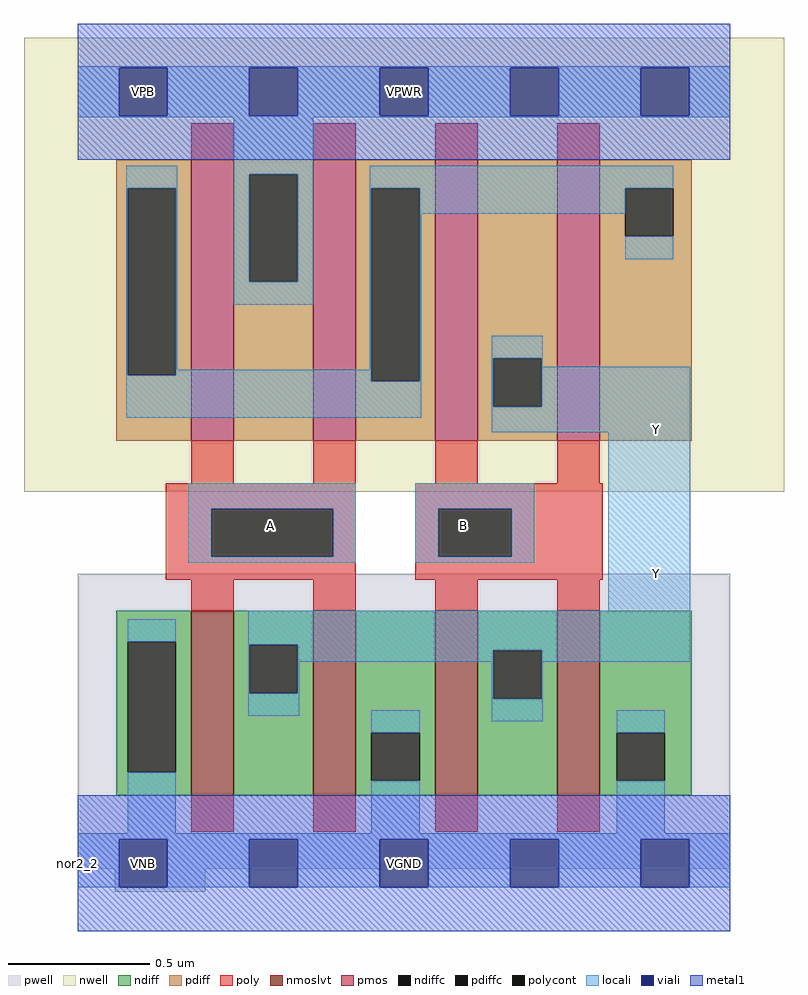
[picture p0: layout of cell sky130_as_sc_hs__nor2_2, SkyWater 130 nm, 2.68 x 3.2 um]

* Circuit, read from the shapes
.subckt sky130_as_sc_hs__nor2_2 VNB VPWR VGND VPB A B Y
XM1 Y A VGND VNB sky130_fd_pr__nfet_01v8_lvt w=0.65 l=0.15 m=2
XM2 Y B VGND VNB sky130_fd_pr__nfet_01v8_lvt w=0.65 l=0.15 m=2
XM3 VPWR A n1 VPB sky130_fd_pr__pfet_01v8 w=0.99 l=0.15 m=2
XM4 Y B n1 VPB sky130_fd_pr__pfet_01v8 w=0.99 l=0.15 m=2
.ends

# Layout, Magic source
magic
tech sky130A
magscale 1 2
<< nwell >>
rect -38 262 498 582
<< pwell >>
rect 0 -4 460 204
rect 26 -20 90 -4
<< pmos >>
rect 80 298 110 496
rect 166 298 196 496
rect 252 298 282 496
rect 338 298 368 496
<< nmoslvt >>
rect 80 48 110 178
rect 166 48 196 178
rect 252 48 282 178
rect 338 48 368 178
<< ndiff >>
rect 27 156 80 178
rect 27 64 35 156
rect 69 64 80 156
rect 27 48 80 64
rect 110 154 166 178
rect 110 120 121 154
rect 155 120 166 154
rect 110 48 166 120
rect 196 92 252 178
rect 196 58 207 92
rect 241 58 252 92
rect 196 48 252 58
rect 282 150 338 178
rect 282 116 293 150
rect 327 116 338 150
rect 282 48 338 116
rect 368 92 433 178
rect 368 58 380 92
rect 414 58 433 92
rect 368 48 433 58
<< pdiff >>
rect 27 476 80 496
rect 27 344 35 476
rect 69 344 80 476
rect 27 298 80 344
rect 110 486 166 496
rect 110 410 121 486
rect 155 410 166 486
rect 110 298 166 410
rect 196 476 252 496
rect 196 340 207 476
rect 241 340 252 476
rect 196 298 252 340
rect 282 356 338 496
rect 282 322 293 356
rect 327 322 338 356
rect 282 298 338 322
rect 368 476 433 496
rect 368 442 386 476
rect 420 442 433 476
rect 368 298 433 442
<< ndiffc >>
rect 35 64 69 156
rect 121 120 155 154
rect 207 58 241 92
rect 293 116 327 150
rect 380 58 414 92
<< pdiffc >>
rect 35 344 69 476
rect 121 410 155 486
rect 207 340 241 476
rect 293 322 327 356
rect 386 442 420 476
<< poly >>
rect 80 496 110 522
rect 166 496 196 522
rect 252 496 282 522
rect 338 496 368 522
rect 80 268 110 298
rect 166 268 196 298
rect 252 268 282 298
rect 338 268 368 298
rect 62 250 196 268
rect 62 216 94 250
rect 180 216 196 250
rect 62 200 196 216
rect 238 250 370 268
rect 238 216 254 250
rect 306 216 370 250
rect 238 200 370 216
rect 80 178 110 200
rect 166 178 196 200
rect 252 178 282 200
rect 338 178 368 200
rect 80 22 110 48
rect 166 22 196 48
rect 252 22 282 48
rect 338 22 368 48
<< polycont >>
rect 94 216 180 250
rect 254 216 306 250
<< locali >>
rect 0 561 460 562
rect 0 527 29 561
rect 63 527 121 561
rect 155 527 213 561
rect 247 527 305 561
rect 339 527 397 561
rect 431 527 460 561
rect 0 526 460 527
rect 34 476 70 492
rect 34 344 35 476
rect 69 348 70 476
rect 110 486 166 526
rect 110 410 121 486
rect 155 410 166 486
rect 110 394 166 410
rect 206 476 420 492
rect 206 348 207 476
rect 69 344 207 348
rect 34 340 207 344
rect 241 458 386 476
rect 241 340 242 458
rect 386 426 420 442
rect 34 314 242 340
rect 292 356 328 372
rect 292 322 293 356
rect 327 350 328 356
rect 327 322 432 350
rect 292 304 432 322
rect 78 250 196 268
rect 78 216 94 250
rect 180 216 196 250
rect 78 212 196 216
rect 238 250 322 268
rect 238 216 254 250
rect 306 216 322 250
rect 238 212 322 216
rect 374 178 432 304
rect 35 156 69 172
rect 120 154 432 178
rect 120 120 121 154
rect 155 150 432 154
rect 155 142 293 150
rect 155 120 156 142
rect 120 104 156 120
rect 292 116 293 142
rect 327 142 432 150
rect 327 116 328 142
rect 35 21 69 64
rect 207 92 241 108
rect 292 100 328 116
rect 207 21 241 58
rect 380 92 414 108
rect 380 21 414 58
rect 0 17 460 21
rect 0 -17 29 17
rect 63 -17 121 17
rect 155 -17 213 17
rect 247 -17 305 17
rect 339 -17 397 17
rect 431 -17 460 17
<< viali >>
rect 29 527 63 561
rect 121 527 155 561
rect 213 527 247 561
rect 305 527 339 561
rect 397 527 431 561
rect 29 -17 63 17
rect 121 -17 155 17
rect 213 -17 247 17
rect 305 -17 339 17
rect 397 -17 431 17
<< metal1 >>
rect 0 561 460 592
rect 0 527 29 561
rect 63 527 121 561
rect 155 527 213 561
rect 247 527 305 561
rect 339 527 397 561
rect 431 527 460 561
rect 0 496 460 527
rect 0 17 460 48
rect 0 -17 29 17
rect 63 -17 121 17
rect 155 -17 213 17
rect 247 -17 305 17
rect 339 -17 397 17
rect 431 -17 460 17
rect 0 -48 460 -17
<< labels >>
rlabel comment s 0 0 0 0 4 nor2_2
flabel pwell s 29 -17 63 17 0 FreeSans 200 0 0 0 VNB
port 1 nsew ground bidirectional
flabel pwell s 46 0 46 0 0 FreeSans 200 0 0 0 VNB
flabel nwell s 29 527 63 561 0 FreeSans 200 0 0 0 VPB
port 4 nsew power bidirectional
flabel nwell s 46 544 46 544 0 FreeSans 200 0 0 0 VPB
flabel metal1 s 29 527 63 561 0 FreeSans 200 0 0 0 VPWR
port 2 nsew power bidirectional abutment
flabel metal1 s 29 -17 63 17 0 FreeSans 200 0 0 0 VGND
port 3 nsew ground bidirectional abutment
rlabel metal1 s 0 -48 460 48 1 VGND
port 3 nsew ground bidirectional abutment
rlabel metal1 s 0 496 460 592 1 VPWR
port 2 nsew power bidirectional abutment
flabel locali 119 221 153 255 0 FreeSans 200 0 0 0 A
port 5 nsew signal input
flabel locali 136 238 136 238 0 FreeSans 200 0 0 0 A
flabel locali 255 221 289 255 0 FreeSans 200 0 0 0 B
port 6 nsew signal input
flabel locali 272 238 272 238 0 FreeSans 200 0 0 0 B
flabel locali 391 187 425 221 0 FreeSans 200 0 0 0 Y
port 7 nsew signal output
flabel locali 408 204 408 204 0 FreeSans 200 0 0 0 Y
flabel locali 391 289 425 323 0 FreeSans 200 0 0 0 Y
port 7 nsew signal output
flabel locali 408 306 408 306 0 FreeSans 200 0 0 0 Y
<< properties >>
string FIXED_BBOX 0 0 460 544
string GDS_FILE $PDKPATH/libs.ref/sky130_as_sc_hs/gds/sky130_as_sc_hs__nor2_2.gds
string LEFclass CORE
string LEFsite unithd
string LEFsymmetry X Y R90
string MASKHINTS_LVTN 0 -4 460 214
string MASKHINTS_NSDM 0 -38 460 203
string MASKHINTS_PSDM 0 273 460 582
<< end >>
